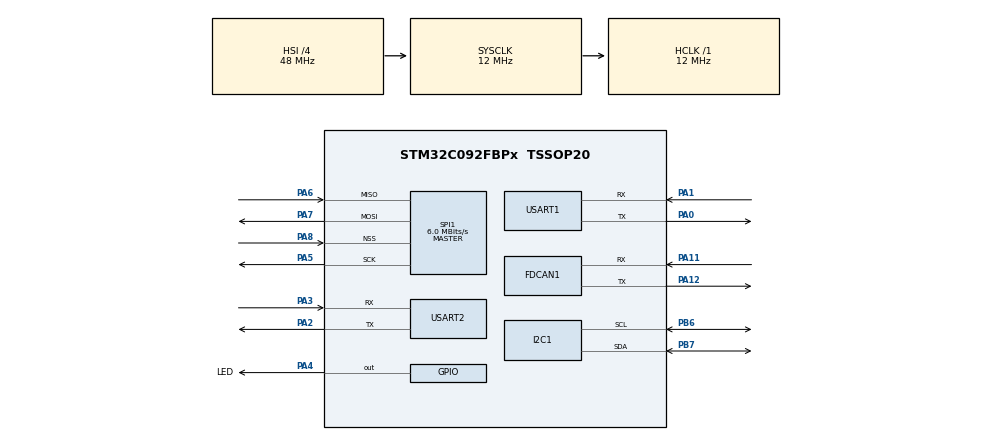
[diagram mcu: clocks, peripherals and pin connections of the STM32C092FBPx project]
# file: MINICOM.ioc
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FDCAN1.AutoRetransmission=DISABLE
FDCAN1.CalculateBaudRateNominal=1000000
FDCAN1.CalculateTimeBitNominal=1000
FDCAN1.CalculateTimeQuantumNominal=83.33333333333333
FDCAN1.NominalPrescaler=1
FDCAN1.NominalTimeSeg1=8
FDCAN1.NominalTimeSeg2=3
FDCAN1.StdFiltersNbr=1
I2C1.Timing=0x00402D41
Mcu.Family=STM32C0
Mcu.Name=STM32C092FBPx
Mcu.Package=TSSOP20
NVIC.FDCAN1_IT0_IRQn=true\:0\:0\:false\:false\:true\:true\:true\:true
NVIC.USART1_IRQn=true\:0\:0\:false\:false\:true\:true\:true\:true
PA0.Mode=Asynchronous
PA0.Signal=USART1_TX
PA1.Mode=Asynchronous
PA1.Signal=USART1_RX
PA11\ [PA9].Mode=FDCAN_Activate
PA11\ [PA9].Signal=FDCAN1_RX
PA12\ [PA10].Mode=FDCAN_Activate
PA12\ [PA10].Signal=FDCAN1_TX
PA13.Mode=Serial_Wire
PA13.Signal=DEBUG_SWDIO
PA14-BOOT0.Mode=Serial_Wire
PA14-BOOT0.Signal=DEBUG_SWCLK
PA14-BOOT0__PA15.StandardMode=true
PA2.Mode=Asynchronous
PA2.Signal=USART2_TX
PA3.Mode=Asynchronous
PA3.Signal=USART2_RX
PA4.GPIO_Label=LED
PA4.Signal=GPIO_Output
PA5.Mode=Full_Duplex_Master
PA5.Signal=SPI1_SCK
PA6.Mode=Full_Duplex_Master
PA6.Signal=SPI1_MISO
PA7.Mode=Full_Duplex_Master
PA7.Signal=SPI1_MOSI
PA8.Mode=NSS_Signal_Hard_Input
PA8.Signal=SPI1_NSS
PB0__PB1__PB2__PA8.StandardMode=true
PB3__PB4__PB5__PB6.StandardMode=true
PB6.Mode=I2C
PB6.Signal=I2C1_SCL
PB7.Mode=I2C
PB7.Signal=I2C1_SDA
PB7__PB8.StandardMode=true
ProjectManager.HeapSize=0x200
ProjectManager.StackSize=0x400
ProjectManager.TargetToolchain=STM32CubeIDE
RCC.ADCFreq_Value=12000000
RCC.AHBFreq_Value=12000000
RCC.CortexFreq_Value=12000000
RCC.EXTERNAL_CLOCK_VALUE=12288000
RCC.HCLKFreq_Value=12000000
RCC.HSE_VALUE=8000000
RCC.HSI_VALUE=48000000
RCC.LSE_VALUE=32768
RCC.SYSCLKFreq_VALUE=12000000
SPI1.CalculateBaudRate=6.0 MBits/s
SPI1.Direction=SPI_DIRECTION_2LINES
SPI1.Mode=SPI_MODE_MASTER
SPI1.VirtualNSS=VM_NSSHARD
SPI1.VirtualType=VM_MASTER
USART1.SwapParam=ADVFEATURE_SWAP_DISABLE
USART1.VirtualMode-Asynchronous=VM_ASYNC
USART2.VirtualMode-Asynchronous=VM_ASYNC
board=custom

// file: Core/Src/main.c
/* USER CODE BEGIN Header */
/**
  ******************************************************************************
  * @file           : main.c
  * @brief          : Main program body
  ******************************************************************************
  * @attention
  *
  * Copyright (c) 2026 STMicroelectronics.
  * All rights reserved.
  *
  * This software is licensed under terms that can be found in the LICENSE file
  * in the root directory of this software component.
  * If no LICENSE file comes with this software, it is provided AS-IS.
  *
  ******************************************************************************
  */
/* USER CODE END Header */
#include "main.h"

/* USER CODE BEGIN Includes */
#include "stdbool.h"
/* USER CODE END Includes */

FDCAN_HandleTypeDef hfdcan1;

I2C_HandleTypeDef hi2c1;

SPI_HandleTypeDef hspi1;

UART_HandleTypeDef huart1;
UART_HandleTypeDef huart2;

/* USER CODE BEGIN PV */

/*pc*/
uint8_t RxChar;
char RxBuffer[32];
int RxIndex=0;
bool CanTxFlag = false;
bool CanRxFlag = false;
uint32_t CanTxIde;
uint32_t CanTxId;
uint32_t CanTxDlc;
uint32_t CanRxIde;
uint32_t CanRxId;
uint32_t CanRxDlc;

/*can*/
FDCAN_TxHeaderTypeDef TxHeader;
uint8_t CanTxData[8] = {0,1,2,3,4,5,6,7};
uint32_t id;
uint8_t CanRxData[8];
FDCAN_RxHeaderTypeDef RxHeader;
/* USER CODE END PV */

void SystemClock_Config(void);
static void MX_GPIO_Init(void);
static void MX_FDCAN1_Init(void);
static void MX_I2C1_Init(void);
static void MX_SPI1_Init(void);
static void MX_USART2_UART_Init(void);
static void MX_USART1_UART_Init(void);
/* USER CODE BEGIN PFP */
static void FDCAN_Config(void){
	FDCAN_FilterTypeDef sFilterConfig;

	sFilterConfig.IdType = FDCAN_STANDARD_ID;
	sFilterConfig.FilterIndex = 0;
	sFilterConfig.FilterType = FDCAN_FILTER_MASK;
	sFilterConfig.FilterConfig = FDCAN_FILTER_TO_RXFIFO0;
	sFilterConfig.FilterID1 = 0x000;
	sFilterConfig.FilterID2 = 0x000;
	if(HAL_FDCAN_ConfigFilter(&hfdcan1, &sFilterConfig) != HAL_OK){
		Error_Handler();
	}
    /* Configure global filter to reject all non-matching frames */
    if(HAL_FDCAN_ConfigGlobalFilter(&hfdcan1, FDCAN_REJECT, FDCAN_REJECT, FDCAN_REJECT_REMOTE, FDCAN_REJECT_REMOTE) != HAL_OK){
        Error_Handler();
    }
	if(HAL_FDCAN_Start(&hfdcan1) != HAL_OK){
		Error_Handler();
	}
	if(HAL_FDCAN_ActivateNotification(&hfdcan1, FDCAN_IT_RX_FIFO0_NEW_MESSAGE, 0) != HAL_OK){
		Error_Handler();
	}
	TxHeader.Identifier = 0x123;
	TxHeader.IdType = FDCAN_STANDARD_ID;
	TxHeader.TxFrameType = FDCAN_DATA_FRAME;
	TxHeader.DataLength = FDCAN_DLC_BYTES_8;
	TxHeader.ErrorStateIndicator = FDCAN_ESI_ACTIVE;
	TxHeader.BitRateSwitch = FDCAN_BRS_OFF;
	TxHeader.FDFormat = FDCAN_CLASSIC_CAN;
	TxHeader.TxEventFifoControl = FDCAN_NO_TX_EVENTS;
	TxHeader.MessageMarker = 0;
}
void HAL_FDCAN_RxFifo0Callback(FDCAN_HandleTypeDef *hfdcan, uint32_t RxFifo0ITs){
	uint8_t RxData[8];
	if((RxFifo0ITs & FDCAN_IT_RX_FIFO0_NEW_MESSAGE) != RESET){
		if(HAL_FDCAN_GetRxMessage(hfdcan, FDCAN_RX_FIFO0,&RxHeader, RxData)!= HAL_OK){
			Error_Handler();
		}
		CanRxIde = RxHeader.IdType;
		CanRxId = RxHeader.Identifier;
		CanRxDlc = RxHeader.DataLength;
		CanRxData[0] = RxData[0];                                                    // Data
		CanRxData[1] = RxData[1];
		CanRxData[2] = RxData[2];
		CanRxData[3] = RxData[3];
		CanRxData[4] = RxData[4];
		CanRxData[5] = RxData[5];
		CanRxData[6] = RxData[6];
		CanRxData[7] = RxData[7];
		CanRxFlag = true;
	}
}

void HAL_UART_RxCpltCallback(UART_HandleTypeDef *huart){
	if(huart->Instance==USART1){
		if(RxChar == '\r'){
			RxBuffer[RxIndex]='\0';
			CanTxFlag = true;
			RxIndex = 0;
		}else{
			if(RxIndex < 31){
				RxBuffer[RxIndex] = RxChar;
				RxIndex++;
			}
		}
		HAL_UART_Receive_IT(&huart1, &RxChar,1);
	}
}

uint32_t parseHex(char* str, int len){
	uint32_t val = 0;
	for(int i = 0;i<len;i++){
		char c = str[i];
		uint8_t v = 0;
		if(c >= '0' && c<= '9') v = c - '0';//数字に変換
		else if(c >= 'A' && c <= 'F') v = c - 'A' + 10;//大文字の16進数も10進数に変換
		else if(c >= 'a' && c <= 'f') v = c - 'a' + 10;//小文字の16進数も10進数に変換
		val = (val << 4) | v;
	}
	return val;
}
/* USER CODE END PFP */

int main(void)
{

  /* MCU Configuration--------------------------------------------------------*/

  /* Reset of all peripherals, Initializes the Flash interface and the Systick. */
  HAL_Init();

  /* Configure the system clock */
  SystemClock_Config();

  /* Initialize all configured peripherals */
  MX_GPIO_Init();
  MX_FDCAN1_Init();
  MX_I2C1_Init();
  MX_SPI1_Init();
  MX_USART2_UART_Init();
  MX_USART1_UART_Init();
  /* USER CODE BEGIN 2 */
  FDCAN_Config();
  HAL_UART_Receive_IT(&huart1, &RxChar, 1);
  /* USER CODE END 2 */

  /* Infinite loop */
  /* USER CODE BEGIN WHILE */
  while (1)
  {
//	  HAL_UART_Transmit(&huart1, tx_buff, sizeof(tx_buff), 1000);
//	  printf("aiueo\n");
		// 1. Bus-Off状態（エラーで強制停止）になっていないかチェック
	  if(CanRxFlag){
		  char txBuffer[32];
		  int index = 0;
		  if(CanRxIde==FDCAN_STANDARD_ID){
			  index += sprintf(&txBuffer[index], "t%03lX%lu", CanRxId, CanRxDlc);
		  }else{
			  index += sprintf(&txBuffer[index], "T%08lX%lu", CanRxId, CanRxDlc);
		  }
		  for(int i = 0;i<CanRxDlc;i++){
			  index += sprintf(&txBuffer[index], "%02X", CanRxData[i]);
		  }
		  txBuffer[index++] = '\r';
		  txBuffer[index] = '\0';

		  HAL_UART_Transmit(&huart1, (uint8_t*)txBuffer, index, 100);
		  CanRxFlag=false;
	  }

	  if(CanTxFlag){
		  if(RxBuffer[0]=='t'){
			  TxHeader.IdType = FDCAN_STANDARD_ID;
			  TxHeader.Identifier = parseHex(&RxBuffer[1],3);
			  TxHeader.DataLength = parseHex(&RxBuffer[4],1);
			  for(int i = 0; i < TxHeader.DataLength;i++){
				  CanTxData[i] = (uint8_t)parseHex(&RxBuffer[5 + (i * 2)], 2);
			  }
		  }else if(RxBuffer[0] == 'T'){
			  TxHeader.IdType = FDCAN_EXTENDED_ID;
			  TxHeader.Identifier = parseHex(&RxBuffer[1],8);
			  TxHeader.DataLength = parseHex(&RxBuffer[9],1);
			  for(int i = 0; i < TxHeader.DataLength;i++){
				  CanTxData[i] = (uint8_t)parseHex(&RxBuffer[10 + (i * 2)], 2);
			  }
		  }
		  if (HAL_FDCAN_GetTxFifoFreeLevel(&hfdcan1) > 0) {
			  if (HAL_FDCAN_AddMessageToTxFifoQ(&hfdcan1, &TxHeader, CanTxData) == HAL_OK) {
				  //送信した時に行いたい処理
				  HAL_GPIO_TogglePin(LED_GPIO_Port, LED_Pin);
				  for(uint8_t i = 0; i < 8; i++)CanTxData[i]++;
			  }
		  }
		  CanTxFlag = false;
	  }

	  // Bus-Offを検知したら、FDCANを一旦停止して再スタート（エラー解除）
	  if ((hfdcan1.Instance->PSR & FDCAN_PSR_BO) != 0) {
		  HAL_FDCAN_Stop(&hfdcan1);
		  HAL_FDCAN_Start(&hfdcan1);
	  }
	  HAL_Delay(1);
    /* USER CODE END WHILE */

  }
}

void SystemClock_Config(void)
{
  RCC_OscInitTypeDef RCC_OscInitStruct = {0};
  RCC_ClkInitTypeDef RCC_ClkInitStruct = {0};

  __HAL_FLASH_SET_LATENCY(FLASH_LATENCY_0);

  /** Initializes the RCC Oscillators according to the specified parameters
  * in the RCC_OscInitTypeDef structure.
  */
  RCC_OscInitStruct.OscillatorType = RCC_OSCILLATORTYPE_HSI;
  RCC_OscInitStruct.HSIState = RCC_HSI_ON;
  RCC_OscInitStruct.HSIDiv = RCC_HSI_DIV4;
  RCC_OscInitStruct.HSICalibrationValue = RCC_HSICALIBRATION_DEFAULT;
  if (HAL_RCC_OscConfig(&RCC_OscInitStruct) != HAL_OK)
  {
    Error_Handler();
  }

  /** Initializes the CPU, AHB and APB buses clocks
  */
  RCC_ClkInitStruct.ClockType = RCC_CLOCKTYPE_HCLK|RCC_CLOCKTYPE_SYSCLK
                              |RCC_CLOCKTYPE_PCLK1;
  RCC_ClkInitStruct.SYSCLKSource = RCC_SYSCLKSOURCE_HSI;
  RCC_ClkInitStruct.SYSCLKDivider = RCC_SYSCLK_DIV1;
  RCC_ClkInitStruct.AHBCLKDivider = RCC_HCLK_DIV1;
  RCC_ClkInitStruct.APB1CLKDivider = RCC_APB1_DIV1;

  if (HAL_RCC_ClockConfig(&RCC_ClkInitStruct, FLASH_LATENCY_0) != HAL_OK)
  {
    Error_Handler();
  }
}

static void MX_FDCAN1_Init(void)
{

  hfdcan1.Instance = FDCAN1;
  hfdcan1.Init.ClockDivider = FDCAN_CLOCK_DIV1;
  hfdcan1.Init.FrameFormat = FDCAN_FRAME_CLASSIC;
  hfdcan1.Init.Mode = FDCAN_MODE_NORMAL;
  hfdcan1.Init.AutoRetransmission = DISABLE;
  hfdcan1.Init.TransmitPause = DISABLE;
  hfdcan1.Init.ProtocolException = DISABLE;
  hfdcan1.Init.NominalPrescaler = 1;
  hfdcan1.Init.NominalSyncJumpWidth = 1;
  hfdcan1.Init.NominalTimeSeg1 = 8;
  hfdcan1.Init.NominalTimeSeg2 = 3;
  hfdcan1.Init.DataPrescaler = 1;
  hfdcan1.Init.DataSyncJumpWidth = 1;
  hfdcan1.Init.DataTimeSeg1 = 1;
  hfdcan1.Init.DataTimeSeg2 = 1;
  hfdcan1.Init.StdFiltersNbr = 1;
  hfdcan1.Init.ExtFiltersNbr = 0;
  hfdcan1.Init.TxFifoQueueMode = FDCAN_TX_FIFO_OPERATION;
  if (HAL_FDCAN_Init(&hfdcan1) != HAL_OK)
  {
    Error_Handler();
  }

}

static void MX_I2C1_Init(void)
{

  hi2c1.Instance = I2C1;
  hi2c1.Init.Timing = 0x00402D41;
  hi2c1.Init.OwnAddress1 = 0;
  hi2c1.Init.AddressingMode = I2C_ADDRESSINGMODE_7BIT;
  hi2c1.Init.DualAddressMode = I2C_DUALADDRESS_DISABLE;
  hi2c1.Init.OwnAddress2 = 0;
  hi2c1.Init.OwnAddress2Masks = I2C_OA2_NOMASK;
  hi2c1.Init.GeneralCallMode = I2C_GENERALCALL_DISABLE;
  hi2c1.Init.NoStretchMode = I2C_NOSTRETCH_DISABLE;
  if (HAL_I2C_Init(&hi2c1) != HAL_OK)
  {
    Error_Handler();
  }

  /** Configure Analogue filter
  */
  if (HAL_I2CEx_ConfigAnalogFilter(&hi2c1, I2C_ANALOGFILTER_ENABLE) != HAL_OK)
  {
    Error_Handler();
  }

  /** Configure Digital filter
  */
  if (HAL_I2CEx_ConfigDigitalFilter(&hi2c1, 0) != HAL_OK)
  {
    Error_Handler();
  }

}

static void MX_SPI1_Init(void)
{

  /* SPI1 parameter configuration*/
  hspi1.Instance = SPI1;
  hspi1.Init.Mode = SPI_MODE_MASTER;
  hspi1.Init.Direction = SPI_DIRECTION_2LINES;
  hspi1.Init.DataSize = SPI_DATASIZE_4BIT;
  hspi1.Init.CLKPolarity = SPI_POLARITY_LOW;
  hspi1.Init.CLKPhase = SPI_PHASE_1EDGE;
  hspi1.Init.NSS = SPI_NSS_HARD_INPUT;
  hspi1.Init.BaudRatePrescaler = SPI_BAUDRATEPRESCALER_2;
  hspi1.Init.FirstBit = SPI_FIRSTBIT_MSB;
  hspi1.Init.TIMode = SPI_TIMODE_DISABLE;
  hspi1.Init.CRCCalculation = SPI_CRCCALCULATION_DISABLE;
  hspi1.Init.CRCPolynomial = 7;
  hspi1.Init.CRCLength = SPI_CRC_LENGTH_DATASIZE;
  hspi1.Init.NSSPMode = SPI_NSS_PULSE_ENABLE;
  if (HAL_SPI_Init(&hspi1) != HAL_OK)
  {
    Error_Handler();
  }

}

static void MX_USART1_UART_Init(void)
{

  huart1.Instance = USART1;
  huart1.Init.BaudRate = 115200;
  huart1.Init.WordLength = UART_WORDLENGTH_8B;
  huart1.Init.StopBits = UART_STOPBITS_1;
  huart1.Init.Parity = UART_PARITY_NONE;
  huart1.Init.Mode = UART_MODE_TX_RX;
  huart1.Init.HwFlowCtl = UART_HWCONTROL_NONE;
  huart1.Init.OverSampling = UART_OVERSAMPLING_16;
  huart1.Init.OneBitSampling = UART_ONE_BIT_SAMPLE_DISABLE;
  huart1.Init.ClockPrescaler = UART_PRESCALER_DIV1;
  huart1.AdvancedInit.AdvFeatureInit = UART_ADVFEATURE_NO_INIT;
  if (HAL_UART_Init(&huart1) != HAL_OK)
  {
    Error_Handler();
  }
  if (HAL_UARTEx_SetTxFifoThreshold(&huart1, UART_TXFIFO_THRESHOLD_1_8) != HAL_OK)
  {
    Error_Handler();
  }
  if (HAL_UARTEx_SetRxFifoThreshold(&huart1, UART_RXFIFO_THRESHOLD_1_8) != HAL_OK)
  {
    Error_Handler();
  }
  if (HAL_UARTEx_DisableFifoMode(&huart1) != HAL_OK)
  {
    Error_Handler();
  }

}

static void MX_USART2_UART_Init(void)
{

  huart2.Instance = USART2;
  huart2.Init.BaudRate = 115200;
  huart2.Init.WordLength = UART_WORDLENGTH_8B;
  huart2.Init.StopBits = UART_STOPBITS_1;
  huart2.Init.Parity = UART_PARITY_NONE;
  huart2.Init.Mode = UART_MODE_TX_RX;
  huart2.Init.HwFlowCtl = UART_HWCONTROL_NONE;
  huart2.Init.OverSampling = UART_OVERSAMPLING_16;
  huart2.Init.OneBitSampling = UART_ONE_BIT_SAMPLE_DISABLE;
  huart2.Init.ClockPrescaler = UART_PRESCALER_DIV1;
  huart2.AdvancedInit.AdvFeatureInit = UART_ADVFEATURE_NO_INIT;
  if (HAL_UART_Init(&huart2) != HAL_OK)
  {
    Error_Handler();
  }

}

static void MX_GPIO_Init(void)
{
  GPIO_InitTypeDef GPIO_InitStruct = {0};

  /* GPIO Ports Clock Enable */
  __HAL_RCC_GPIOB_CLK_ENABLE();
  __HAL_RCC_GPIOA_CLK_ENABLE();

  /*Configure GPIO pin Output Level */
  HAL_GPIO_WritePin(LED_GPIO_Port, LED_Pin, GPIO_PIN_RESET);

  /*Configure GPIO pin : LED_Pin */
  GPIO_InitStruct.Pin = LED_Pin;
  GPIO_InitStruct.Mode = GPIO_MODE_OUTPUT_PP;
  GPIO_InitStruct.Pull = GPIO_NOPULL;
  GPIO_InitStruct.Speed = GPIO_SPEED_FREQ_LOW;
  HAL_GPIO_Init(LED_GPIO_Port, &GPIO_InitStruct);

}

void Error_Handler(void)
{
  __disable_irq();
  while (1)
  {
  }
}
